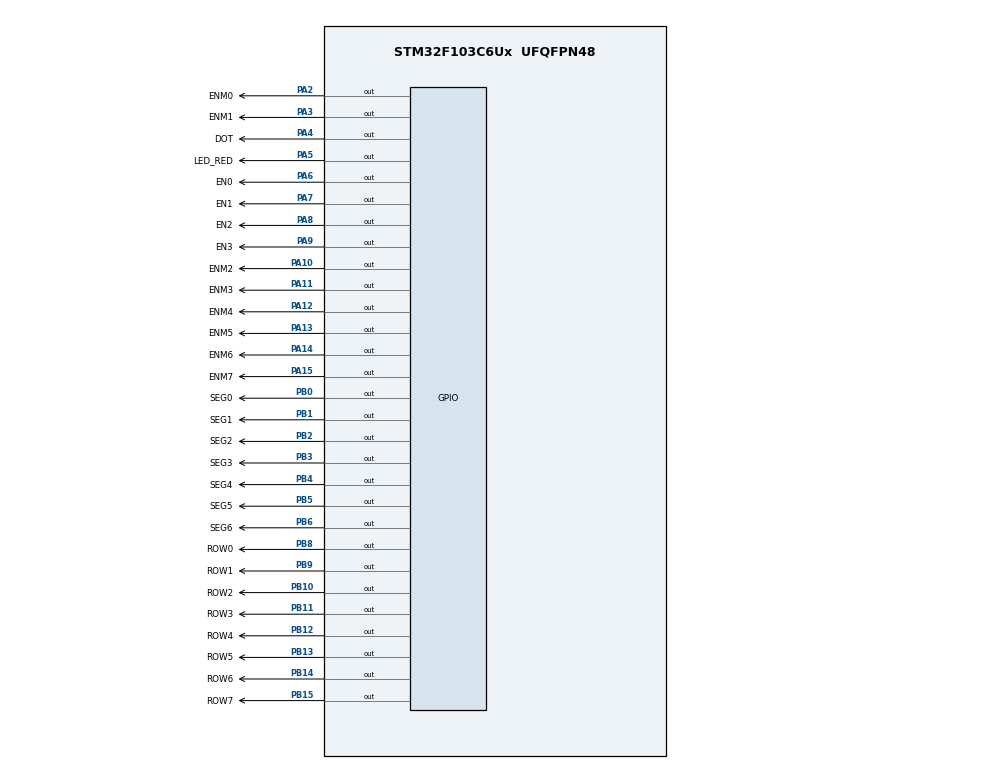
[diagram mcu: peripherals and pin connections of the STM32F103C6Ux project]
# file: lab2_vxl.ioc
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Mcu.Family=STM32F1
Mcu.Name=STM32F103C6Ux
Mcu.Package=UFQFPN48
NVIC.PriorityGroup=NVIC_PRIORITYGROUP_4
NVIC.TIM2_IRQn=true\:0\:0\:false\:false\:true\:true\:true
PA10.GPIO_Label=ENM2
PA10.Signal=GPIO_Output
PA11.GPIO_Label=ENM3
PA11.Signal=GPIO_Output
PA12.GPIO_Label=ENM4
PA12.Signal=GPIO_Output
PA13.GPIO_Label=ENM5
PA13.Signal=GPIO_Output
PA14.GPIO_Label=ENM6
PA14.Signal=GPIO_Output
PA15.GPIO_Label=ENM7
PA15.Signal=GPIO_Output
PA2.GPIO_Label=ENM0
PA2.Signal=GPIO_Output
PA3.GPIO_Label=ENM1
PA3.Signal=GPIO_Output
PA4.GPIO_Label=DOT
PA4.Signal=GPIO_Output
PA5.GPIO_Label=LED_RED
PA5.Signal=GPIO_Output
PA6.GPIO_Label=EN0
PA6.Signal=GPIO_Output
PA7.GPIO_Label=EN1
PA7.Signal=GPIO_Output
PA8.GPIO_Label=EN2
PA8.Signal=GPIO_Output
PA9.GPIO_Label=EN3
PA9.Signal=GPIO_Output
PB0.GPIO_Label=SEG0
PB0.Signal=GPIO_Output
PB1.GPIO_Label=SEG1
PB1.Signal=GPIO_Output
PB10.GPIO_Label=ROW2
PB10.Signal=GPIO_Output
PB11.GPIO_Label=ROW3
PB11.Signal=GPIO_Output
PB12.GPIO_Label=ROW4
PB12.Signal=GPIO_Output
PB13.GPIO_Label=ROW5
PB13.Signal=GPIO_Output
PB14.GPIO_Label=ROW6
PB14.Signal=GPIO_Output
PB15.GPIO_Label=ROW7
PB15.Signal=GPIO_Output
PB2.GPIO_Label=SEG2
PB2.Signal=GPIO_Output
PB3.GPIO_Label=SEG3
PB3.Signal=GPIO_Output
PB4.GPIO_Label=SEG4
PB4.Signal=GPIO_Output
PB5.GPIO_Label=SEG5
PB5.Signal=GPIO_Output
PB6.GPIO_Label=SEG6
PB6.Signal=GPIO_Output
PB8.GPIO_Label=ROW0
PB8.Signal=GPIO_Output
PB9.GPIO_Label=ROW1
PB9.Signal=GPIO_Output
ProjectManager.HeapSize=0x200
ProjectManager.StackSize=0x400
ProjectManager.TargetToolchain=STM32CubeIDE
RCC.APB1Freq_Value=8000000
RCC.APB2Freq_Value=8000000
TIM2.Period=9
TIM2.Prescaler=7999
VP_SYS_VS_ND.Mode=No_Debug
VP_TIM2_VS_ClockSourceINT.Mode=Internal
board=custom

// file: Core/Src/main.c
/* USER CODE BEGIN Header */
/**
  ******************************************************************************
  * @file           : main.c
  * @brief          : Main program body
  ******************************************************************************
  * @attention
  *
  * <h2><center>&copy; Copyright (c) 2025 STMicroelectronics.
  * All rights reserved.</center></h2>
  *
  * This software component is licensed by ST under BSD 3-Clause license,
  * the "License"; You may not use this file except in compliance with the
  * License. You may obtain a copy of the License at:
  *                        opensource.org/licenses/BSD-3-Clause
  *
  ******************************************************************************
  */
/* USER CODE END Header */
#include "main.h"

/* USER CODE BEGIN Includes */
#include "software_timer.h"
/* USER CODE END Includes */

TIM_HandleTypeDef htim2;

void SystemClock_Config(void);
static void MX_GPIO_Init(void);
static void MX_TIM2_Init(void);

/* USER CODE BEGIN 0 */

GPIO_TypeDef *SEG_PORTS[12] = { SEG0_GPIO_Port, SEG1_GPIO_Port,
SEG2_GPIO_Port, SEG3_GPIO_Port, SEG4_GPIO_Port, SEG5_GPIO_Port,
SEG6_GPIO_Port };
uint16_t SEG_PINS[12] = { SEG0_Pin, SEG1_Pin, SEG2_Pin, SEG3_Pin,
SEG4_Pin, SEG5_Pin, SEG6_Pin };
GPIO_PinState LEDS_state[10][7] = {
		// a, b, c, d, e, f, g
		{0, 0, 0, 0, 0, 0, 1}, // 0
		{1, 0, 0, 1, 1, 1, 1}, // 1
		{0, 0, 1, 0, 0, 1, 0}, // 2
		{0, 0, 0, 0, 1, 1, 0}, // 3
		{1, 0, 0, 1, 1, 0, 0}, // 4
		{0, 1, 0, 0, 1, 0, 0}, // 5
		{0, 1, 0, 0, 0, 0, 0}, // 6
		{0, 0, 0, 1, 1, 1, 1}, // 7
		{0, 0, 0, 0, 0, 0, 0}, // 8
		{0, 0, 0, 0, 1, 0, 0}  // 9
};
void set_LEDS(GPIO_PinState *L_LEDS_state) {
	for (int i = 0; i < 7; i++) {
		HAL_GPIO_WritePin(SEG_PORTS[i], SEG_PINS[i], L_LEDS_state[i]);
	}
}
void display7SEG(int num) {
	if (num >= 0 && num <= 9) {
	        set_LEDS(LEDS_state[num]);
	    }
}
void set_state(GPIO_PinState EN0_state, GPIO_PinState EN1_state,
		GPIO_PinState EN2_state, GPIO_PinState EN3_state) {
	HAL_GPIO_WritePin(EN0_GPIO_Port, EN0_Pin, EN0_state);
	HAL_GPIO_WritePin(EN1_GPIO_Port, EN1_Pin, EN1_state);
	HAL_GPIO_WritePin(EN2_GPIO_Port, EN2_Pin, EN2_state);
	HAL_GPIO_WritePin(EN3_GPIO_Port, EN3_Pin, EN3_state);
}

const int MAX_LED = 4;
int index_led = 0;
int led_buffer[4] = { 1, 2, 3, 4 };
void update7SEG(int index) {
	switch (index) {
	case 0:
		set_state(0, 1, 1, 1);
		display7SEG(led_buffer[0]);
		break;
	case 1:
		set_state(1, 0, 1, 1);
		display7SEG(led_buffer[1]);
		break;
	case 2:
		set_state(1, 1, 0, 1);
		display7SEG(led_buffer[2]);
		break;
	case 3:
		set_state(1, 1, 1, 0);
		display7SEG(led_buffer[3]);
		break;
	default:
		break;
	}
}

/* USER CODE END 0 */

int main(void)
{

  /* MCU Configuration--------------------------------------------------------*/

  /* Reset of all peripherals, Initializes the Flash interface and the Systick. */
  HAL_Init();

  /* Configure the system clock */
  SystemClock_Config();

  /* Initialize all configured peripherals */
  MX_GPIO_Init();
  MX_TIM2_Init();
  /* USER CODE BEGIN 2 */
  HAL_TIM_Base_Start_IT(&htim2);
  /* USER CODE END 2 */

  /* Infinite loop */
  /* USER CODE BEGIN WHILE */
  setTimer(0, 250);
  HAL_GPIO_WritePin(DOT_GPIO_Port, DOT_Pin, 0);

  while (1){
	  if (timer_flag[0] == 1) {
	  		  if (index_led >= MAX_LED) {
	  		  	 index_led = 0;
	  		  	}
	  		  update7SEG(index_led++);
	  	  		setTimer(0, 1000);
	  	  	}

    /* USER CODE END WHILE */

  }
}

void SystemClock_Config(void)
{
  RCC_OscInitTypeDef RCC_OscInitStruct = {0};
  RCC_ClkInitTypeDef RCC_ClkInitStruct = {0};

  /** Initializes the RCC Oscillators according to the specified parameters
  * in the RCC_OscInitTypeDef structure.
  */
  RCC_OscInitStruct.OscillatorType = RCC_OSCILLATORTYPE_HSI;
  RCC_OscInitStruct.HSIState = RCC_HSI_ON;
  RCC_OscInitStruct.HSICalibrationValue = RCC_HSICALIBRATION_DEFAULT;
  RCC_OscInitStruct.PLL.PLLState = RCC_PLL_NONE;
  if (HAL_RCC_OscConfig(&RCC_OscInitStruct) != HAL_OK)
  {
    Error_Handler();
  }
  /** Initializes the CPU, AHB and APB buses clocks
  */
  RCC_ClkInitStruct.ClockType = RCC_CLOCKTYPE_HCLK|RCC_CLOCKTYPE_SYSCLK
                              |RCC_CLOCKTYPE_PCLK1|RCC_CLOCKTYPE_PCLK2;
  RCC_ClkInitStruct.SYSCLKSource = RCC_SYSCLKSOURCE_HSI;
  RCC_ClkInitStruct.AHBCLKDivider = RCC_SYSCLK_DIV1;
  RCC_ClkInitStruct.APB1CLKDivider = RCC_HCLK_DIV1;
  RCC_ClkInitStruct.APB2CLKDivider = RCC_HCLK_DIV1;

  if (HAL_RCC_ClockConfig(&RCC_ClkInitStruct, FLASH_LATENCY_0) != HAL_OK)
  {
    Error_Handler();
  }
}

static void MX_TIM2_Init(void)
{

  TIM_ClockConfigTypeDef sClockSourceConfig = {0};
  TIM_MasterConfigTypeDef sMasterConfig = {0};

  htim2.Instance = TIM2;
  htim2.Init.Prescaler = 7999;
  htim2.Init.CounterMode = TIM_COUNTERMODE_UP;
  htim2.Init.Period = 9;
  htim2.Init.ClockDivision = TIM_CLOCKDIVISION_DIV1;
  htim2.Init.AutoReloadPreload = TIM_AUTORELOAD_PRELOAD_DISABLE;
  if (HAL_TIM_Base_Init(&htim2) != HAL_OK)
  {
    Error_Handler();
  }
  sClockSourceConfig.ClockSource = TIM_CLOCKSOURCE_INTERNAL;
  if (HAL_TIM_ConfigClockSource(&htim2, &sClockSourceConfig) != HAL_OK)
  {
    Error_Handler();
  }
  sMasterConfig.MasterOutputTrigger = TIM_TRGO_RESET;
  sMasterConfig.MasterSlaveMode = TIM_MASTERSLAVEMODE_DISABLE;
  if (HAL_TIMEx_MasterConfigSynchronization(&htim2, &sMasterConfig) != HAL_OK)
  {
    Error_Handler();
  }

}

static void MX_GPIO_Init(void)
{
  GPIO_InitTypeDef GPIO_InitStruct = {0};

  /* GPIO Ports Clock Enable */
  __HAL_RCC_GPIOA_CLK_ENABLE();
  __HAL_RCC_GPIOB_CLK_ENABLE();

  /*Configure GPIO pin Output Level */
  HAL_GPIO_WritePin(GPIOA, DOT_Pin|LED_RED_Pin|EN0_Pin|EN1_Pin
                          |EN2_Pin|EN3_Pin, GPIO_PIN_RESET);

  /*Configure GPIO pin Output Level */
  HAL_GPIO_WritePin(GPIOB, SEG0_Pin|SEG1_Pin|SEG2_Pin|SEG3_Pin
                          |SEG4_Pin|SEG5_Pin|SEG6_Pin, GPIO_PIN_RESET);

  /*Configure GPIO pins : DOT_Pin LED_RED_Pin EN0_Pin EN1_Pin
                           EN2_Pin EN3_Pin */
  GPIO_InitStruct.Pin = DOT_Pin|LED_RED_Pin|EN0_Pin|EN1_Pin
                          |EN2_Pin|EN3_Pin;
  GPIO_InitStruct.Mode = GPIO_MODE_OUTPUT_PP;
  GPIO_InitStruct.Pull = GPIO_NOPULL;
  GPIO_InitStruct.Speed = GPIO_SPEED_FREQ_LOW;
  HAL_GPIO_Init(GPIOA, &GPIO_InitStruct);

  /*Configure GPIO pins : SEG0_Pin SEG1_Pin SEG2_Pin SEG3_Pin
                           SEG4_Pin SEG5_Pin SEG6_Pin */
  GPIO_InitStruct.Pin = SEG0_Pin|SEG1_Pin|SEG2_Pin|SEG3_Pin
                          |SEG4_Pin|SEG5_Pin|SEG6_Pin;
  GPIO_InitStruct.Mode = GPIO_MODE_OUTPUT_PP;
  GPIO_InitStruct.Pull = GPIO_NOPULL;
  GPIO_InitStruct.Speed = GPIO_SPEED_FREQ_LOW;
  HAL_GPIO_Init(GPIOB, &GPIO_InitStruct);

}

/* USER CODE BEGIN 4 */
void HAL_TIM_PeriodElapsedCallback(TIM_HandleTypeDef *htim){
	timerRun();

}
/* USER CODE END 4 */

void Error_Handler(void)
{
  __disable_irq();
  while (1)
  {
  }
}

/************************ (C) COPYRIGHT STMicroelectronics *****END OF FILE****/
